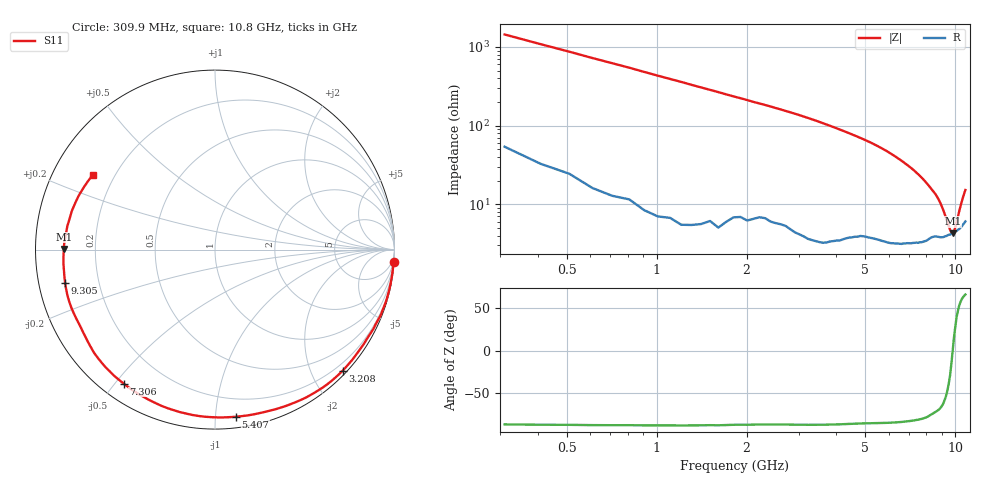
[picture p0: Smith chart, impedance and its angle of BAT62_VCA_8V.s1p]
! Infineon Technologies  Discrete & RF Semiconductors
! BAT62
! VCA = 8 V
! One-Port S-Parameters
# Hz  S  MA  R  50
!f  S11
!Hz  Mag  Ang
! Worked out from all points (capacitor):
!   106 points, 309.9 MHz to 10.8 GHz, reference 50 ohm
!   read as one part to ground: C = 357 fF near 309.9 MHz
!   lowest |Z| = 4.28 ohm at 9.805 GHz (marker M1)
!   series resonance near 9.798 GHz, so ESL is about 740 pH
!   S11 on the Smith chart (normalised r, x): 309.9 MHz: 1, -29; 3.208 GHz: 0.07, -2.51; 5.407 GHz: 0.07, -1.13; 7.306 GHz: 0.06, -0.53; 9.305 GHz: 0.08, -0.11; 10.8 GHz: 0.12, +0.28
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3.0985e8  0.9974 -4.0
1.0095e9  0.9963 -13.2
1.70915e9  0.9909 -22.6
2.4088e9  0.982 -31.8
3.0085e9  0.9805 -40.3
3.2084e9  0.9803 -43.5
3.6082e9  0.9772 -49.9
4.10795e9  0.9673 -58.6
4.30785e9  0.9615 -62.1
4.90755e9  0.9459 -73.0
5.4073e9  0.9386 -82.8
5.6072e9  0.9361 -87.0
6.007e9  0.9315 -95.6
6.30685e9  0.9261 -102.2
6.6067e9  0.9203 -109.0
6.90655e9  0.9122 -115.6
7.30635e9  0.9037 -124.3
7.8061e9  0.8919 -135.2
8.2059e9  0.8753 -143.8
8.8056e9  0.8631 -155.7
9.10545e9  0.8609 -162.6
9.30535e9  0.8557 -167.5
9.50525e9  0.8494 -172.3
9.8051e9  0.8425 179.8
1.010495e10  0.8331 171.0
1.030485e10  0.8261 164.8
1.050475e10  0.8167 158.5
1.08046e10  0.7983 148.4
